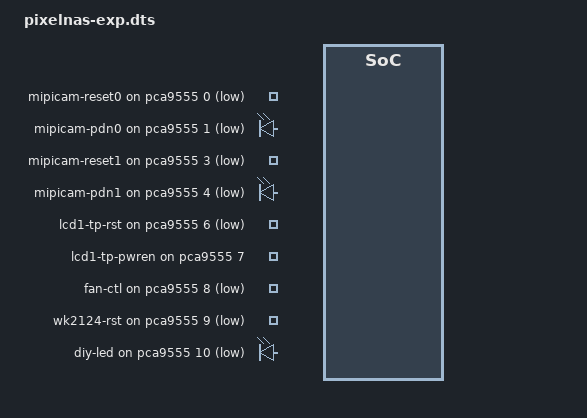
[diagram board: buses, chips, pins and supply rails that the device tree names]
/dts-v1/;
/plugin/;

/ {
	fragment@1 {
        	target-path = "/";
		__overlay__ {
			expander_21: expander-21 {
				compatible = "gpio-leds";
				pinctrl-names = "default";
				pinctrl-0 = <>;

				mipicam-reset0 {
					label = "mipicam-reset0";
					gpios = <&pca9555 0 1>;
					default-state = "on";
				};

				mipicam-pdn0 {
					label = "mipicam-pdn0";
					gpios = <&pca9555 1 1>;
					default-state = "on";
				};

				mipicam-reset1 {
					label = "mipicam-reset1";
					gpios = <&pca9555 3 1>;
					default-state = "on";
				};

				mipicam-pdn1 {
					label = "mipicam-pdn1";
					gpios = <&pca9555 4 1>;
					default-state = "on";
				};

				lcd1-tp_rst {
					label = "lcd1-tp-rst";
					gpios = <&pca9555 6 1>;
					default-state = "off";
				};

				lcd1-tp-pwren {
					label = "lcd1-tp-pwren";
					gpios = <&pca9555 7 0>;
					default-state = "off";
				};

				// 8 and 9 are skipped in chip, but system continues use them

				fan-ctl {
					label = "fan-ctl";
					gpios = <&pca9555 8 1>;		// 10 by chip
					default-state = "on";
				};

				wk2124-rst {
					label = "wk2124-rst";		// 11 by chip
					gpios = <&pca9555 9 1>;
					default-state = "off";
				};

				diy-led {
					label = "diy-led";		// 12 by chip
					gpios = <&pca9555 10 1>;
					default-state = "on";
				};
			};

    		};
	};
};
